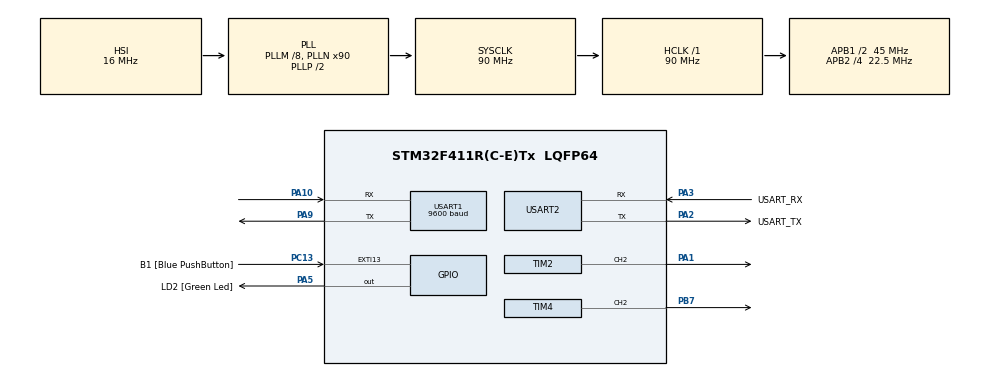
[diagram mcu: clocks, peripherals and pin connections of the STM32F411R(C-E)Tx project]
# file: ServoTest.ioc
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FREERTOS.Tasks01=USART_Thread,0,128,startUSARTReceiver,Default,NULL,Dynamic,NULL,NULL;motor_Thread,0,128,startMotorThread,Default,NULL,Dynamic,NULL,NULL
Mcu.Family=STM32F4
Mcu.Name=STM32F411R(C-E)Tx
Mcu.Package=LQFP64
NVIC.PriorityGroup=NVIC_PRIORITYGROUP_4
PA1.Signal=S_TIM2_CH2
PA10.Mode=Asynchronous
PA10.Signal=USART1_RX
PA13.GPIO_Label=TMS
PA13.Mode=Serial_Wire
PA13.Signal=SYS_JTMS-SWDIO
PA14.GPIO_Label=TCK
PA14.Mode=Serial_Wire
PA14.Signal=SYS_JTCK-SWCLK
PA2.GPIO_Label=USART_TX
PA2.Mode=Asynchronous
PA2.Signal=USART2_TX
PA3.GPIO_Label=USART_RX
PA3.Mode=Asynchronous
PA3.Signal=USART2_RX
PA5.GPIO_Label=LD2 [Green Led]
PA5.Signal=GPIO_Output
PA9.Mode=Asynchronous
PA9.Signal=USART1_TX
PB3.GPIO_Label=SWO
PB3.Signal=SYS_JTDO-SWO
PB7.Signal=S_TIM4_CH2
PC13-ANTI_TAMP.GPIO_Label=B1 [Blue PushButton]
PC13-ANTI_TAMP.GPIO_ModeDefaultEXTI=GPIO_MODE_IT_FALLING
PC13-ANTI_TAMP.Signal=GPXTI13
PC14-OSC32_IN.Mode=LSE-External-Oscillator
PC14-OSC32_IN.Signal=RCC_OSC32_IN
PC15-OSC32_OUT.Mode=LSE-External-Oscillator
PC15-OSC32_OUT.Signal=RCC_OSC32_OUT
PH0\ -\ OSC_IN.Mode=HSE-External-Clock-Source
PH0\ -\ OSC_IN.Signal=RCC_OSC_IN
PH1\ -\ OSC_OUT.Mode=HSE-External-Clock-Source
PH1\ -\ OSC_OUT.Signal=RCC_OSC_OUT
ProjectManager.HeapSize=0x200
ProjectManager.StackSize=0x400
ProjectManager.TargetToolchain=STM32CubeIDE
RCC.48MHZClocksFreq_Value=45000000
RCC.AHBFreq_Value=90000000
RCC.APB1CLKDivider=RCC_HCLK_DIV2
RCC.APB1Freq_Value=45000000
RCC.APB1TimFreq_Value=90000000
RCC.APB2CLKDivider=RCC_HCLK_DIV4
RCC.APB2Freq_Value=22500000
RCC.APB2TimFreq_Value=45000000
RCC.CortexFreq_Value=90000000
RCC.FLatency-AdvancedSettings=FLASH_LATENCY_2
RCC.HCLKFreq_Value=90000000
RCC.HSE_VALUE=8000000
RCC.HSI_VALUE=16000000
RCC.PLLM=8
RCC.PLLN=90
RCC.SYSCLKFreq_VALUE=90000000
RCC.SYSCLKSource=RCC_SYSCLKSOURCE_PLLCLK
RCC.VCOOutputFreq_Value=180000000
SH.S_TIM2_CH2.0=TIM2_CH2,PWM Generation2 CH2
SH.S_TIM4_CH2.0=TIM4_CH2,PWM Generation2 CH2
TIM2.Channel-PWM\ Generation2\ CH2=TIM_CHANNEL_2
TIM2.Period=1000
TIM2.Prescaler=19
TIM2.Pulse-PWM\ Generation2\ CH2=500
TIM4.Channel-PWM\ Generation2\ CH2=TIM_CHANNEL_2
TIM4.Period=1000
TIM4.Prescaler=1679
USART1.BaudRate=9600
USART1.VirtualMode=VM_ASYNC
USART2.VirtualMode=VM_ASYNC
VP_FREERTOS_VS_CMSIS_V1.Mode=CMSIS_V1
VP_TIM2_VS_ClockSourceINT.Mode=Internal
VP_TIM4_VS_ClockSourceINT.Mode=Internal
board=NUCLEO-F411RE

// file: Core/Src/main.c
/* USER CODE BEGIN Header */
/**
 ******************************************************************************
 * @file           : main.c
 * @brief          : Main program body
 ******************************************************************************
 * @attention
 *
 * Copyright (c) 2022 STMicroelectronics.
 * All rights reserved.
 *
 * This software is licensed under terms that can be found in the LICENSE file
 * in the root directory of this software component.
 * If no LICENSE file comes with this software, it is provided AS-IS.
 *
 ******************************************************************************
 */
/* USER CODE END Header */
#include "main.h"
#include "cmsis_os.h"

TIM_HandleTypeDef htim2;
TIM_HandleTypeDef htim4;

UART_HandleTypeDef huart1;
UART_HandleTypeDef huart2;

osThreadId USART_ThreadHandle;
osThreadId motor_ThreadHandle;

void SystemClock_Config(void);
static void MX_GPIO_Init(void);
static void MX_USART2_UART_Init(void);
static void MX_TIM2_Init(void);
static void MX_USART1_UART_Init(void);
static void MX_TIM4_Init(void);
void startUSARTReceiver(void const *argument);
void startMotorThread(void const *argument);

/* USER CODE BEGIN PFP */
void sweep(int from, int to) {
	int speed = 10;
	if (from < to) {
		for (int x = from; x < to; x++) {
			__HAL_TIM_SET_COMPARE(&htim4, TIM_CHANNEL_2, x);
			osDelay(speed);
		}
	} else {
		for (int x = from; x > to; x--) {
			__HAL_TIM_SET_COMPARE(&htim4, TIM_CHANNEL_2, x);
			osDelay(speed);
		}
	}
}

/*
 * THERE WILL BE TWO MODE OF WAVING, LRL AND RLR
 */
void wave(int mode) {
	int startAngle = 50;
	int stopAngle = 100;

	int begin, end;
	if (mode == 1) {
		begin = startAngle;
		end = stopAngle;
	} else {
		begin = stopAngle;
		end = startAngle;
	}

/*
 * THIS IS THE WAVING MOTION, EMULATING HAND WAVING
 */
	sweep(begin, end);
	sweep(end, begin);
	sweep(begin, end);
}

/* USER CODE END PFP */

/* USER CODE BEGIN 0 */

/*
 * THIS IS THE SIGNAL THAT WILL BE CONSTANTLY FROM NODEMCU VIA USART IN THE USART RECEIVER THREAD
 */
int global_signal = 1;

/* USER CODE END 0 */

int main(void) {

	/* MCU Configuration--------------------------------------------------------*/

	/* Reset of all peripherals, Initializes the Flash interface and the Systick. */
	HAL_Init();

	/* Configure the system clock */
	SystemClock_Config();

	/* Initialize all configured peripherals */
	MX_GPIO_Init();
	MX_USART2_UART_Init();
	MX_TIM2_Init();
	MX_USART1_UART_Init();
	MX_TIM4_Init();
	/* USER CODE BEGIN 2 */
	HAL_TIM_PWM_Start(&htim4, TIM_CHANNEL_2);

//	int press;

	/* USER CODE END 2 */

	/* Create the thread(s) */
	/* definition and creation of USART_Thread */
	osThreadDef(USART_Thread, startUSARTReceiver, osPriorityNormal, 0, 128);
	USART_ThreadHandle = osThreadCreate(osThread(USART_Thread), NULL);

	/* definition and creation of motor_Thread */
	osThreadDef(motor_Thread, startMotorThread, osPriorityNormal, 0, 128);
	motor_ThreadHandle = osThreadCreate(osThread(motor_Thread), NULL);

	/* Start scheduler */
	osKernelStart();

	/* We should never get here as control is now taken by the scheduler */
	/* Infinite loop */
	while (1) {

	}
}

void SystemClock_Config(void) {
	RCC_OscInitTypeDef RCC_OscInitStruct = { 0 };
	RCC_ClkInitTypeDef RCC_ClkInitStruct = { 0 };

	/** Configure the main internal regulator output voltage
	 */
	__HAL_RCC_PWR_CLK_ENABLE();
	__HAL_PWR_VOLTAGESCALING_CONFIG(PWR_REGULATOR_VOLTAGE_SCALE1);

	/** Initializes the RCC Oscillators according to the specified parameters
	 * in the RCC_OscInitTypeDef structure.
	 */
	RCC_OscInitStruct.OscillatorType = RCC_OSCILLATORTYPE_HSI;
	RCC_OscInitStruct.HSIState = RCC_HSI_ON;
	RCC_OscInitStruct.HSICalibrationValue = RCC_HSICALIBRATION_DEFAULT;
	RCC_OscInitStruct.PLL.PLLState = RCC_PLL_ON;
	RCC_OscInitStruct.PLL.PLLSource = RCC_PLLSOURCE_HSI;
	RCC_OscInitStruct.PLL.PLLM = 8;
	RCC_OscInitStruct.PLL.PLLN = 90;
	RCC_OscInitStruct.PLL.PLLP = RCC_PLLP_DIV2;
	RCC_OscInitStruct.PLL.PLLQ = 4;
	if (HAL_RCC_OscConfig(&RCC_OscInitStruct) != HAL_OK) {
		Error_Handler();
	}

	/** Initializes the CPU, AHB and APB buses clocks
	 */
	RCC_ClkInitStruct.ClockType = RCC_CLOCKTYPE_HCLK | RCC_CLOCKTYPE_SYSCLK
			| RCC_CLOCKTYPE_PCLK1 | RCC_CLOCKTYPE_PCLK2;
	RCC_ClkInitStruct.SYSCLKSource = RCC_SYSCLKSOURCE_PLLCLK;
	RCC_ClkInitStruct.AHBCLKDivider = RCC_SYSCLK_DIV1;
	RCC_ClkInitStruct.APB1CLKDivider = RCC_HCLK_DIV2;
	RCC_ClkInitStruct.APB2CLKDivider = RCC_HCLK_DIV4;

	if (HAL_RCC_ClockConfig(&RCC_ClkInitStruct, FLASH_LATENCY_2) != HAL_OK) {
		Error_Handler();
	}
}

static void MX_TIM2_Init(void) {

	TIM_ClockConfigTypeDef sClockSourceConfig = { 0 };
	TIM_MasterConfigTypeDef sMasterConfig = { 0 };
	TIM_OC_InitTypeDef sConfigOC = { 0 };

	htim2.Instance = TIM2;
	htim2.Init.Prescaler = 19;
	htim2.Init.CounterMode = TIM_COUNTERMODE_UP;
	htim2.Init.Period = 1000;
	htim2.Init.ClockDivision = TIM_CLOCKDIVISION_DIV1;
	htim2.Init.AutoReloadPreload = TIM_AUTORELOAD_PRELOAD_DISABLE;
	if (HAL_TIM_Base_Init(&htim2) != HAL_OK) {
		Error_Handler();
	}
	sClockSourceConfig.ClockSource = TIM_CLOCKSOURCE_INTERNAL;
	if (HAL_TIM_ConfigClockSource(&htim2, &sClockSourceConfig) != HAL_OK) {
		Error_Handler();
	}
	if (HAL_TIM_PWM_Init(&htim2) != HAL_OK) {
		Error_Handler();
	}
	sMasterConfig.MasterOutputTrigger = TIM_TRGO_RESET;
	sMasterConfig.MasterSlaveMode = TIM_MASTERSLAVEMODE_DISABLE;
	if (HAL_TIMEx_MasterConfigSynchronization(&htim2, &sMasterConfig)
			!= HAL_OK) {
		Error_Handler();
	}
	sConfigOC.OCMode = TIM_OCMODE_PWM1;
	sConfigOC.Pulse = 500;
	sConfigOC.OCPolarity = TIM_OCPOLARITY_HIGH;
	sConfigOC.OCFastMode = TIM_OCFAST_DISABLE;
	if (HAL_TIM_PWM_ConfigChannel(&htim2, &sConfigOC, TIM_CHANNEL_2)
			!= HAL_OK) {
		Error_Handler();
	}
	HAL_TIM_MspPostInit(&htim2);

}

static void MX_TIM4_Init(void) {

	TIM_ClockConfigTypeDef sClockSourceConfig = { 0 };
	TIM_MasterConfigTypeDef sMasterConfig = { 0 };
	TIM_OC_InitTypeDef sConfigOC = { 0 };

	htim4.Instance = TIM4;
	htim4.Init.Prescaler = 1679;
	htim4.Init.CounterMode = TIM_COUNTERMODE_UP;
	htim4.Init.Period = 1000;
	htim4.Init.ClockDivision = TIM_CLOCKDIVISION_DIV1;
	htim4.Init.AutoReloadPreload = TIM_AUTORELOAD_PRELOAD_DISABLE;
	if (HAL_TIM_Base_Init(&htim4) != HAL_OK) {
		Error_Handler();
	}
	sClockSourceConfig.ClockSource = TIM_CLOCKSOURCE_INTERNAL;
	if (HAL_TIM_ConfigClockSource(&htim4, &sClockSourceConfig) != HAL_OK) {
		Error_Handler();
	}
	if (HAL_TIM_PWM_Init(&htim4) != HAL_OK) {
		Error_Handler();
	}
	sMasterConfig.MasterOutputTrigger = TIM_TRGO_RESET;
	sMasterConfig.MasterSlaveMode = TIM_MASTERSLAVEMODE_DISABLE;
	if (HAL_TIMEx_MasterConfigSynchronization(&htim4, &sMasterConfig)
			!= HAL_OK) {
		Error_Handler();
	}
	sConfigOC.OCMode = TIM_OCMODE_PWM1;
	sConfigOC.Pulse = 0;
	sConfigOC.OCPolarity = TIM_OCPOLARITY_HIGH;
	sConfigOC.OCFastMode = TIM_OCFAST_DISABLE;
	if (HAL_TIM_PWM_ConfigChannel(&htim4, &sConfigOC, TIM_CHANNEL_2)
			!= HAL_OK) {
		Error_Handler();
	}
	HAL_TIM_MspPostInit(&htim4);

}

static void MX_USART1_UART_Init(void) {

	huart1.Instance = USART1;
	huart1.Init.BaudRate = 9600;
	huart1.Init.WordLength = UART_WORDLENGTH_8B;
	huart1.Init.StopBits = UART_STOPBITS_1;
	huart1.Init.Parity = UART_PARITY_NONE;
	huart1.Init.Mode = UART_MODE_TX_RX;
	huart1.Init.HwFlowCtl = UART_HWCONTROL_NONE;
	huart1.Init.OverSampling = UART_OVERSAMPLING_16;
	if (HAL_UART_Init(&huart1) != HAL_OK) {
		Error_Handler();
	}

}

static void MX_USART2_UART_Init(void) {

	huart2.Instance = USART2;
	huart2.Init.BaudRate = 115200;
	huart2.Init.WordLength = UART_WORDLENGTH_8B;
	huart2.Init.StopBits = UART_STOPBITS_1;
	huart2.Init.Parity = UART_PARITY_NONE;
	huart2.Init.Mode = UART_MODE_TX_RX;
	huart2.Init.HwFlowCtl = UART_HWCONTROL_NONE;
	huart2.Init.OverSampling = UART_OVERSAMPLING_16;
	if (HAL_UART_Init(&huart2) != HAL_OK) {
		Error_Handler();
	}

}

static void MX_GPIO_Init(void) {
	GPIO_InitTypeDef GPIO_InitStruct = { 0 };

	/* GPIO Ports Clock Enable */
	__HAL_RCC_GPIOC_CLK_ENABLE();
	__HAL_RCC_GPIOH_CLK_ENABLE();
	__HAL_RCC_GPIOA_CLK_ENABLE();
	__HAL_RCC_GPIOB_CLK_ENABLE();

	/*Configure GPIO pin Output Level */
	HAL_GPIO_WritePin(LD2_GPIO_Port, LD2_Pin, GPIO_PIN_RESET);

	/*Configure GPIO pin : B1_Pin */
	GPIO_InitStruct.Pin = B1_Pin;
	GPIO_InitStruct.Mode = GPIO_MODE_IT_FALLING;
	GPIO_InitStruct.Pull = GPIO_NOPULL;
	HAL_GPIO_Init(B1_GPIO_Port, &GPIO_InitStruct);

	/*Configure GPIO pin : LD2_Pin */
	GPIO_InitStruct.Pin = LD2_Pin;
	GPIO_InitStruct.Mode = GPIO_MODE_OUTPUT_PP;
	GPIO_InitStruct.Pull = GPIO_NOPULL;
	GPIO_InitStruct.Speed = GPIO_SPEED_FREQ_LOW;
	HAL_GPIO_Init(LD2_GPIO_Port, &GPIO_InitStruct);

}

void startUSARTReceiver(void const *argument) {
	/* USER CODE BEGIN 5 */
	/* Infinite loop */
	char rx[1];
	for (;;) {
		if (HAL_UART_Receive(&huart1, &rx, sizeof(rx), HAL_MAX_DELAY)
				== HAL_OK) {
			if (rx[0] == '0') {
				global_signal = 0;
				HAL_GPIO_WritePin(GPIOA, GPIO_PIN_5, GPIO_PIN_SET);
				HAL_UART_Transmit(&huart2, &rx, sizeof(rx), 100);
			} else {
				global_signal = 1;
				HAL_GPIO_WritePin(GPIOA, GPIO_PIN_5, GPIO_PIN_RESET);
				HAL_UART_Transmit(&huart2, &rx, sizeof(rx), 100);
			}
		}
	}
	osThreadTerminate(NULL);
	/* USER CODE END 5 */
}

void startMotorThread(void const *argument) {
	/* USER CODE BEGIN startMotorThread */
	/* Infinite loop */
	int mode = 1;
	for (;;) {
		if (global_signal == 0) {
			wave(mode);
			mode = !mode;
		}
	}
	osThreadTerminate(NULL);
	/* USER CODE END startMotorThread */
}

void Error_Handler(void) {
	__disable_irq();
	while (1) {
	}
}
